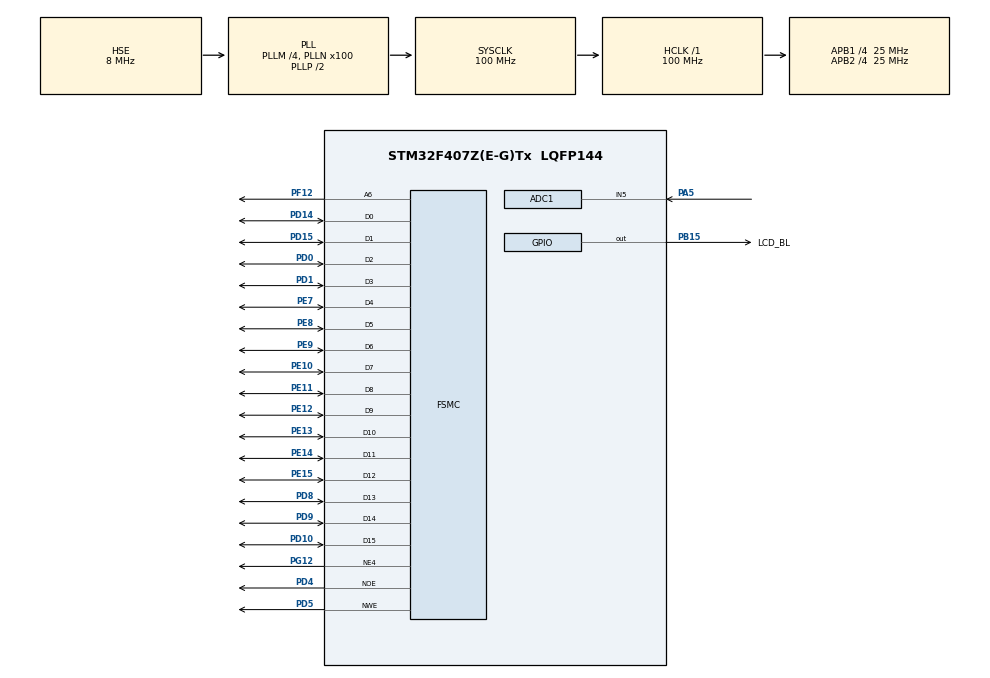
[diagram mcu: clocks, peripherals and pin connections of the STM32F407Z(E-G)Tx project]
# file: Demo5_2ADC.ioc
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ADC1.Channel-0\#ChannelRegularConversion=ADC_CHANNEL_5
ADC1.EnableAnalogWatchDog=false
ADC1.ExternalTrigConv=ADC_EXTERNALTRIGCONV_T3_TRGO
ADC1.InjNumberOfConversion=0
ADC1.NbrOfConversion=1
ADC1.NbrOfConversionFlag=1
ADC1.Rank-0\#ChannelRegularConversion=1
ADC1.Resolution=ADC_RESOLUTION_12B
ADC1.SamplingTime-0\#ChannelRegularConversion=ADC_SAMPLETIME_28CYCLES
ADC1.master=1
FSMC.AccessMode4=FSMC_ACCESS_MODE_A
FSMC.AddressSetupTime4=2
FSMC.BusTurnAroundDuration4=0
FSMC.DataSetupTime4=16
FSMC.ExtendedAccessMode4=FSMC_ACCESS_MODE_A
FSMC.ExtendedAddressSetupTime4=4
FSMC.ExtendedBusTurnAroundDuration4=0
FSMC.ExtendedDataSetupTime4=9
FSMC.ExtendedMode4=FSMC_EXTENDED_MODE_ENABLE
FSMC.MemoryType4=FSMC_MEMORY_TYPE_SRAM
FSMC.NSBank4=FSMC_NORSRAM_BANK4
FSMC.WriteOperation4=FSMC_WRITE_OPERATION_ENABLE
Mcu.Family=STM32F4
Mcu.Name=STM32F407Z(E-G)Tx
Mcu.Package=LQFP144
NVIC.ADC_IRQn=true\:1\:0\:true\:false\:true\:true\:true\:true
NVIC.PriorityGroup=NVIC_PRIORITYGROUP_4
PA13.Mode=Serial_Wire
PA13.Signal=SYS_JTMS-SWDIO
PA14.Mode=Serial_Wire
PA14.Signal=SYS_JTCK-SWCLK
PA5.Signal=ADCx_IN5
PB15.GPIO_Label=LCD_BL
PB15.PinState=GPIO_PIN_RESET
PB15.Signal=GPIO_Output
PC14-OSC32_IN.Mode=LSE-External-Oscillator
PC14-OSC32_IN.Signal=RCC_OSC32_IN
PC15-OSC32_OUT.Mode=LSE-External-Oscillator
PC15-OSC32_OUT.Signal=RCC_OSC32_OUT
PD0.Signal=FSMC_D2_DA2
PD1.Signal=FSMC_D3_DA3
PD10.Signal=FSMC_D15_DA15
PD14.Signal=FSMC_D0_DA0
PD15.Signal=FSMC_D1_DA1
PD4.Signal=FSMC_NOE
PD5.Signal=FSMC_NWE
PD8.Signal=FSMC_D13_DA13
PD9.Signal=FSMC_D14_DA14
PE10.Signal=FSMC_D7_DA7
PE11.Signal=FSMC_D8_DA8
PE12.Signal=FSMC_D9_DA9
PE13.Signal=FSMC_D10_DA10
PE14.Signal=FSMC_D11_DA11
PE15.Signal=FSMC_D12_DA12
PE7.Signal=FSMC_D4_DA4
PE8.Signal=FSMC_D5_DA5
PE9.Signal=FSMC_D6_DA6
PF12.Signal=FSMC_A6
PG12.Mode=NorPsramChipSelect4_4
PG12.Signal=FSMC_NE4
PH0-OSC_IN.Mode=HSE-External-Oscillator
PH0-OSC_IN.Signal=RCC_OSC_IN
PH1-OSC_OUT.Mode=HSE-External-Oscillator
PH1-OSC_OUT.Signal=RCC_OSC_OUT
ProjectManager.HeapSize=0x200
ProjectManager.StackSize=0x400
ProjectManager.TargetToolchain=STM32CubeIDE
RCC.48MHZClocksFreq_Value=50000000
RCC.AHBFreq_Value=100000000
RCC.APB1CLKDivider=RCC_HCLK_DIV4
RCC.APB1Freq_Value=25000000
RCC.APB1TimFreq_Value=50000000
RCC.APB2CLKDivider=RCC_HCLK_DIV4
RCC.APB2Freq_Value=25000000
RCC.APB2TimFreq_Value=50000000
RCC.CortexFreq_Value=100000000
RCC.FLatency=FLASH_LATENCY_3
RCC.HCLKFreq_Value=100000000
RCC.HSE_VALUE=8000000
RCC.HSI_VALUE=16000000
RCC.PLLM=4
RCC.PLLN=100
RCC.PLLSourceVirtual=RCC_PLLSOURCE_HSE
RCC.SYSCLKFreq_VALUE=100000000
RCC.SYSCLKSource=RCC_SYSCLKSOURCE_PLLCLK
RCC.VCOOutputFreq_Value=200000000
SH.ADCx_IN5.0=ADC1_IN5,IN5
SH.FSMC_A6.0=FSMC_A6,A6_4
SH.FSMC_D0_DA0.0=FSMC_D0,16b-d4
SH.FSMC_D10_DA10.0=FSMC_D10,16b-d4
SH.FSMC_D11_DA11.0=FSMC_D11,16b-d4
SH.FSMC_D12_DA12.0=FSMC_D12,16b-d4
SH.FSMC_D13_DA13.0=FSMC_D13,16b-d4
SH.FSMC_D14_DA14.0=FSMC_D14,16b-d4
SH.FSMC_D15_DA15.0=FSMC_D15,16b-d4
SH.FSMC_D1_DA1.0=FSMC_D1,16b-d4
SH.FSMC_D2_DA2.0=FSMC_D2,16b-d4
SH.FSMC_D3_DA3.0=FSMC_D3,16b-d4
SH.FSMC_D4_DA4.0=FSMC_D4,16b-d4
SH.FSMC_D5_DA5.0=FSMC_D5,16b-d4
SH.FSMC_D6_DA6.0=FSMC_D6,16b-d4
SH.FSMC_D7_DA7.0=FSMC_D7,16b-d4
SH.FSMC_D8_DA8.0=FSMC_D8,16b-d4
SH.FSMC_D9_DA9.0=FSMC_D9,16b-d4
SH.FSMC_NOE.0=FSMC_NOE,Lcd4
SH.FSMC_NWE.0=FSMC_NWE,Lcd4
TIM3.Period=99
TIM3.Prescaler=49999
TIM3.TIM_MasterOutputTrigger=TIM_TRGO_UPDATE
VP_TIM3_VS_ClockSourceINT.Mode=Internal
board=custom

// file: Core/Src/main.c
/* USER CODE BEGIN Header */
/**
  ******************************************************************************
  * @file           : main.c
  * @brief          : Main program body
  ******************************************************************************
  * @attention
  *
  * Copyright (c) 2023 STMicroelectronics.
  * All rights reserved.
  *
  * This software is licensed under terms that can be found in the LICENSE file
  * in the root directory of this software component.
  * If no LICENSE file comes with this software, it is provided AS-IS.
  *
  ******************************************************************************
  */
/* USER CODE END Header */
#include "main.h"
#include "adc.h"
#include "tim.h"
#include "gpio.h"
#include "fsmc.h"

/* USER CODE BEGIN Includes */
#include "lcd.h"
/* USER CODE END Includes */

/* USER CODE BEGIN PV */
uint32_t ADCValue, ADCVoltage;
/* USER CODE END PV */

void SystemClock_Config(void);

int main(void)
{

  /* MCU Configuration--------------------------------------------------------*/

  /* Reset of all peripherals, Initializes the Flash interface and the Systick. */
  HAL_Init();

  /* Configure the system clock */
  SystemClock_Config();

  /* Initialize all configured peripherals */
  MX_GPIO_Init();
  MX_FSMC_Init();
  MX_ADC1_Init();
  MX_TIM3_Init();
  /* USER CODE BEGIN 2 */
  lcd_init();
  lcd_show_str(10, 10, 24, "Demo5_1: ADC by TIM3 Trigger", RED);
  lcd_show_str(10,100, 24, "Please set jumper at first", RED);
  lcd_show_str(10,130, 24, "Tune potentiometer for input", RED);
  lcd_show_str(10,160, 24, "ADC 12-bits Value = ", RED);
  lcd_show_str(10,220, 24, "Voltage(mV) = ", RED);

  HAL_ADC_Start_IT(&hadc1);
  HAL_TIM_Base_Start(&htim3);
  /* USER CODE END 2 */

  /* Infinite loop */
  while (1)
  {

  }
}

void SystemClock_Config(void)
{
  RCC_OscInitTypeDef RCC_OscInitStruct = {0};
  RCC_ClkInitTypeDef RCC_ClkInitStruct = {0};

  /** Configure the main internal regulator output voltage
  */
  __HAL_RCC_PWR_CLK_ENABLE();
  __HAL_PWR_VOLTAGESCALING_CONFIG(PWR_REGULATOR_VOLTAGE_SCALE1);

  /** Initializes the RCC Oscillators according to the specified parameters
  * in the RCC_OscInitTypeDef structure.
  */
  RCC_OscInitStruct.OscillatorType = RCC_OSCILLATORTYPE_HSE;
  RCC_OscInitStruct.HSEState = RCC_HSE_ON;
  RCC_OscInitStruct.PLL.PLLState = RCC_PLL_ON;
  RCC_OscInitStruct.PLL.PLLSource = RCC_PLLSOURCE_HSE;
  RCC_OscInitStruct.PLL.PLLM = 4;
  RCC_OscInitStruct.PLL.PLLN = 100;
  RCC_OscInitStruct.PLL.PLLP = RCC_PLLP_DIV2;
  RCC_OscInitStruct.PLL.PLLQ = 4;
  if (HAL_RCC_OscConfig(&RCC_OscInitStruct) != HAL_OK)
  {
    Error_Handler();
  }

  /** Initializes the CPU, AHB and APB buses clocks
  */
  RCC_ClkInitStruct.ClockType = RCC_CLOCKTYPE_HCLK|RCC_CLOCKTYPE_SYSCLK
                              |RCC_CLOCKTYPE_PCLK1|RCC_CLOCKTYPE_PCLK2;
  RCC_ClkInitStruct.SYSCLKSource = RCC_SYSCLKSOURCE_PLLCLK;
  RCC_ClkInitStruct.AHBCLKDivider = RCC_SYSCLK_DIV1;
  RCC_ClkInitStruct.APB1CLKDivider = RCC_HCLK_DIV4;
  RCC_ClkInitStruct.APB2CLKDivider = RCC_HCLK_DIV4;

  if (HAL_RCC_ClockConfig(&RCC_ClkInitStruct, FLASH_LATENCY_3) != HAL_OK)
  {
    Error_Handler();
  }
}

/* USER CODE BEGIN 4 */
__weak void HAL_ADC_ConvCpltCallback(ADC_HandleTypeDef* hadc) {
	if (hadc->Instance == ADC1) {
		ADCValue = HAL_ADC_GetValue(&hadc1);
		lcd_show_num(50, 190, ADCValue, 4, 24, RED);

		ADCVoltage = 3300 * ADCValue >> 12;
		lcd_show_num(50, 250, ADCVoltage, 4, 24, RED);
	}
}
/* USER CODE END 4 */

void Error_Handler(void)
{
  __disable_irq();
  while (1)
  {
  }
}
